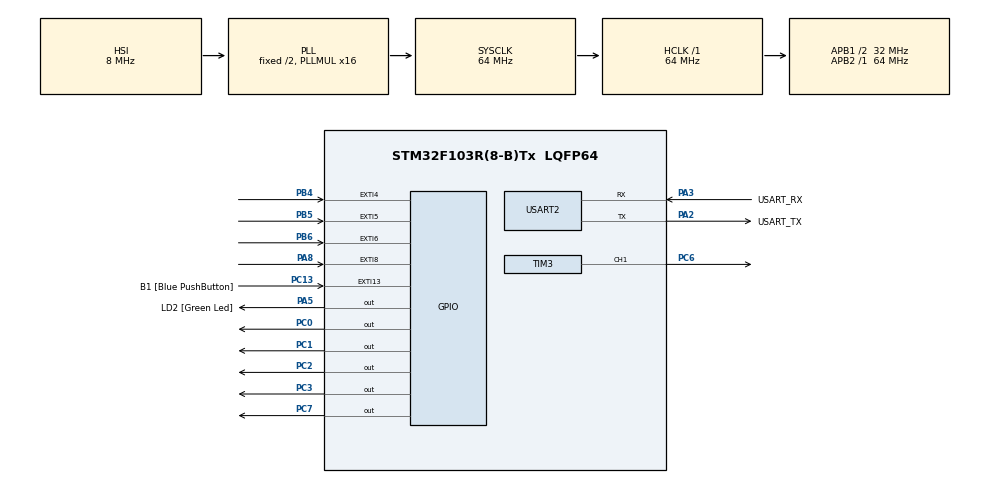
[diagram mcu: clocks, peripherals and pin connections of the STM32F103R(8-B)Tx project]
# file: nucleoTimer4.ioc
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Mcu.Family=STM32F1
Mcu.Name=STM32F103R(8-B)Tx
Mcu.Package=LQFP64
NVIC.EXTI15_10_IRQn=true\:0\:0\:false\:false\:true\:true\:true\:true
NVIC.EXTI4_IRQn=true\:0\:0\:false\:false\:true\:true\:true\:true
NVIC.EXTI9_5_IRQn=true\:0\:0\:false\:false\:true\:true\:true\:true
NVIC.PriorityGroup=NVIC_PRIORITYGROUP_4
NVIC.TIM2_IRQn=true\:0\:0\:false\:false\:true\:true\:true\:true
NVIC.TIM3_IRQn=true\:0\:0\:false\:false\:true\:true\:true\:true
PA13.GPIO_Label=TMS
PA13.Mode=Serial_Wire
PA13.Signal=SYS_JTMS-SWDIO
PA14.GPIO_Label=TCK
PA14.Mode=Serial_Wire
PA14.Signal=SYS_JTCK-SWCLK
PA2.GPIO_Label=USART_TX
PA2.GPIO_Mode=GPIO_MODE_AF_PP
PA2.GPIO_PuPd=GPIO_NOPULL
PA2.GPIO_Speed=GPIO_SPEED_FREQ_LOW
PA2.Mode=Asynchronous
PA2.Signal=USART2_TX
PA3.GPIO_Label=USART_RX
PA3.GPIO_Mode=GPIO_MODE_AF_PP
PA3.GPIO_PuPd=GPIO_NOPULL
PA3.GPIO_Speed=GPIO_SPEED_FREQ_LOW
PA3.Mode=Asynchronous
PA3.Signal=USART2_RX
PA5.GPIO_Label=LD2 [Green Led]
PA5.GPIO_ModeDefaultOutputPP=GPIO_MODE_OUTPUT_PP
PA5.GPIO_PuPd=GPIO_NOPULL
PA5.GPIO_Speed=GPIO_SPEED_FREQ_LOW
PA5.Signal=GPIO_Output
PA8.GPIO_ModeDefaultEXTI=GPIO_MODE_IT_FALLING
PA8.GPIO_PuPd=GPIO_NOPULL
PA8.Signal=GPXTI8
PB4.GPIO_ModeDefaultEXTI=GPIO_MODE_IT_FALLING
PB4.Signal=GPXTI4
PB5.GPIO_ModeDefaultEXTI=GPIO_MODE_IT_FALLING
PB5.Signal=GPXTI5
PB6.Signal=GPXTI6
PC0.Signal=GPIO_Output
PC1.Signal=GPIO_Output
PC13-TAMPER-RTC.GPIO_Label=B1 [Blue PushButton]
PC13-TAMPER-RTC.GPIO_PuPd=GPIO_NOPULL
PC13-TAMPER-RTC.Signal=GPXTI13
PC14-OSC32_IN.Mode=LSE-External-Oscillator
PC14-OSC32_IN.Signal=RCC_OSC32_IN
PC15-OSC32_OUT.Mode=LSE-External-Oscillator
PC15-OSC32_OUT.Signal=RCC_OSC32_OUT
PC2.Signal=GPIO_Output
PC3.Signal=GPIO_Output
PC6.Signal=S_TIM3_CH1
PC7.Signal=GPIO_Output
PD0-OSC_IN.Mode=HSE-External-Clock-Source
PD0-OSC_IN.Signal=RCC_OSC_IN
PD1-OSC_OUT.Mode=HSE-External-Clock-Source
PD1-OSC_OUT.Signal=RCC_OSC_OUT
ProjectManager.HeapSize=0x200
ProjectManager.StackSize=0x400
ProjectManager.TargetToolchain=STM32CubeIDE
RCC.AHBFreq_Value=64000000
RCC.APB1CLKDivider=RCC_HCLK_DIV2
RCC.APB1Freq_Value=32000000
RCC.APB1TimFreq_Value=64000000
RCC.APB2Freq_Value=64000000
RCC.APB2TimFreq_Value=64000000
RCC.HCLKFreq_Value=64000000
RCC.PLLMUL=RCC_PLL_MUL16
RCC.RTCClockSelection=RCC_RTCCLKSOURCE_LSE
RCC.SYSCLKFreq_VALUE=64000000
RCC.SYSCLKSource=RCC_SYSCLKSOURCE_PLLCLK
RCC.USBFreq_Value=64000000
SH.S_TIM3_CH1.0=TIM3_CH1,PWM Generation1 CH1
TIM2.Channel-Output\ Compare1\ No\ Output=TIM_CHANNEL_1
TIM2.Channel-Output\ Compare2\ No\ Output=TIM_CHANNEL_2
TIM2.Channel-Output\ Compare3\ No\ Output=TIM_CHANNEL_3
TIM2.Period=9999
TIM2.Prescaler=63
TIM3.Channel-PWM\ Generation1\ CH1=TIM_CHANNEL_1
TIM3.Period=9999
TIM3.Prescaler=63
TIM3.Pulse-PWM\ Generation1\ CH1=2999
USART2.VirtualMode=VM_ASYNC
VP_TIM2_VS_ClockSourceINT.Mode=Internal
VP_TIM2_VS_no_output1.Mode=Output Compare1 No Output
VP_TIM2_VS_no_output2.Mode=Output Compare2 No Output
VP_TIM2_VS_no_output3.Mode=Output Compare3 No Output
VP_TIM3_VS_ClockSourceINT.Mode=Internal
board=NUCLEO-F103RB

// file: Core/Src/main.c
/* USER CODE BEGIN Header */
/**
  ******************************************************************************
  * @file           : main.c
  * @brief          : Main program body
  ******************************************************************************
  * @attention
  *
  * Copyright (c) 2022 STMicroelectronics.
  * All rights reserved.
  *
  * This software is licensed under terms that can be found in the LICENSE file
  * in the root directory of this software component.
  * If no LICENSE file comes with this software, it is provided AS-IS.
  *
  ******************************************************************************
  */
/* USER CODE END Header */
#include "main.h"

 TIM_HandleTypeDef htim2;
TIM_HandleTypeDef htim3;

UART_HandleTypeDef huart2;

/* USER CODE BEGIN PV */
int cnt1 =0;
int cnt2 =0;
int cnt3 = 0;
/* USER CODE END PV */

void SystemClock_Config(void);
static void MX_GPIO_Init(void);
static void MX_USART2_UART_Init(void);
static void MX_TIM2_Init(void);
static void MX_TIM3_Init(void);

/* USER CODE BEGIN 0 */
void HAL_GPIO_EXTI_Callback(uint16_t GPIO_Pin)
{

	if(GPIO_Pin == GPIO_PIN_8)
	{
		switch(cnt1)
		{
		case 0 : TIM2->CCR1 = 999;TIM2->CCR2 = 8999; break;
		case 1 : TIM2->CCR1 = 2999;TIM2->CCR2 = 5999; break;
		case 2 : TIM2->CCR1 = 5999;TIM2->CCR2 = 2999; break;
		case 3 : TIM2->CCR1 = 8999;TIM2->CCR2 = 999; break;
		default : break;
		}
		cnt1++;
		if (cnt1 == 4) cnt1 =0;
	}
	if(GPIO_Pin == GPIO_PIN_4)
	{
		TIM2->CCR3 = 100;
		cnt2 = !cnt2;
	}
	if(GPIO_Pin == GPIO_PIN_5)
	{
		switch(cnt3)
		{
		case 0 : TIM3->CCR1 = 8999; break;
		case 1 : TIM3->CCR1 = 6999; break;
		case 2 : TIM3->CCR1 = 4999; break;
		case 3 : TIM3->CCR1 = 2999; break;
		default : break;
		}
		cnt3++;
		if (cnt3 == 4) cnt3 =0;
	}
}

void HAL_TIM_PeriodElapsedCallback(TIM_HandleTypeDef *htim)
{
	HAL_GPIO_WritePin(GPIOC, 0x0f, GPIO_PIN_SET);
	//HAL_GPIO_WritePin(GPIOC, 0x80, GPIO_PIN_RESET);
	//if(htim==&htim3) HAL_GPIO_WritePin(GPIOC, GPIO_PIN_7, GPIO_PIN_SET);

}
void HAL_TIM_OC_DelayElapsedCallback(TIM_HandleTypeDef *htim)
{
	if(htim == &htim2){
	if(htim->Channel==(HAL_TIM_ACTIVE_CHANNEL_1)){
		HAL_GPIO_WritePin(GPIOC, 0x03, GPIO_PIN_RESET);
	}
	if(htim->Channel==(HAL_TIM_ACTIVE_CHANNEL_2)){
		HAL_GPIO_WritePin(GPIOC, 0x0c, GPIO_PIN_RESET);
	}
	if((htim->Channel==(HAL_TIM_ACTIVE_CHANNEL_3))&&cnt2 == 0)
	{
		HAL_GPIO_WritePin(GPIOC, 0x0f, GPIO_PIN_RESET);
	}
	else if((htim->Channel==(HAL_TIM_ACTIVE_CHANNEL_3))&&cnt2 == 1)
	{
		HAL_GPIO_WritePin(GPIOC, 0x0f, GPIO_PIN_SET);
	}
	}
}

void HAL_TIM_PWM_PulseFinishedCallback(TIM_HandleTypeDef *htim)
{

	//HAL_GPIO_WritePin(GPIOC, GPIO_PIN_7, GPIO_PIN_SET);
	HAL_GPIO_TogglePin(GPIOC, GPIO_PIN_7);
}

/* USER CODE END 0 */

int main(void)
{

  /* MCU Configuration--------------------------------------------------------*/

  /* Reset of all peripherals, Initializes the Flash interface and the Systick. */
  HAL_Init();

  /* Configure the system clock */
  SystemClock_Config();

  /* Initialize all configured peripherals */
  MX_GPIO_Init();
  MX_USART2_UART_Init();
  MX_TIM2_Init();
  MX_TIM3_Init();
  /* USER CODE BEGIN 2 */
  HAL_TIM_Base_Start_IT(&htim2);

  HAL_TIM_OC_Start_IT(&htim2,TIM_CHANNEL_1);
  HAL_TIM_OC_Start_IT(&htim2,TIM_CHANNEL_2);
  HAL_TIM_OC_Start_IT(&htim2,TIM_CHANNEL_3);
  HAL_TIM_PWM_Start_IT(&htim3, TIM_CHANNEL_1);

  /* USER CODE END 2 */

  /* Infinite loop */
  while (1)
  {

  }
}

void SystemClock_Config(void)
{
  RCC_OscInitTypeDef RCC_OscInitStruct = {0};
  RCC_ClkInitTypeDef RCC_ClkInitStruct = {0};

  /** Initializes the RCC Oscillators according to the specified parameters
  * in the RCC_OscInitTypeDef structure.
  */
  RCC_OscInitStruct.OscillatorType = RCC_OSCILLATORTYPE_HSI;
  RCC_OscInitStruct.HSIState = RCC_HSI_ON;
  RCC_OscInitStruct.HSICalibrationValue = RCC_HSICALIBRATION_DEFAULT;
  RCC_OscInitStruct.PLL.PLLState = RCC_PLL_ON;
  RCC_OscInitStruct.PLL.PLLSource = RCC_PLLSOURCE_HSI_DIV2;
  RCC_OscInitStruct.PLL.PLLMUL = RCC_PLL_MUL16;
  if (HAL_RCC_OscConfig(&RCC_OscInitStruct) != HAL_OK)
  {
    Error_Handler();
  }

  /** Initializes the CPU, AHB and APB buses clocks
  */
  RCC_ClkInitStruct.ClockType = RCC_CLOCKTYPE_HCLK|RCC_CLOCKTYPE_SYSCLK
                              |RCC_CLOCKTYPE_PCLK1|RCC_CLOCKTYPE_PCLK2;
  RCC_ClkInitStruct.SYSCLKSource = RCC_SYSCLKSOURCE_PLLCLK;
  RCC_ClkInitStruct.AHBCLKDivider = RCC_SYSCLK_DIV1;
  RCC_ClkInitStruct.APB1CLKDivider = RCC_HCLK_DIV2;
  RCC_ClkInitStruct.APB2CLKDivider = RCC_HCLK_DIV1;

  if (HAL_RCC_ClockConfig(&RCC_ClkInitStruct, FLASH_LATENCY_2) != HAL_OK)
  {
    Error_Handler();
  }
}

static void MX_TIM2_Init(void)
{

  TIM_ClockConfigTypeDef sClockSourceConfig = {0};
  TIM_MasterConfigTypeDef sMasterConfig = {0};
  TIM_OC_InitTypeDef sConfigOC = {0};

  htim2.Instance = TIM2;
  htim2.Init.Prescaler = 6399;
  htim2.Init.CounterMode = TIM_COUNTERMODE_UP;
  htim2.Init.Period = 9999;
  htim2.Init.ClockDivision = TIM_CLOCKDIVISION_DIV1;
  htim2.Init.AutoReloadPreload = TIM_AUTORELOAD_PRELOAD_DISABLE;
  if (HAL_TIM_Base_Init(&htim2) != HAL_OK)
  {
    Error_Handler();
  }
  sClockSourceConfig.ClockSource = TIM_CLOCKSOURCE_INTERNAL;
  if (HAL_TIM_ConfigClockSource(&htim2, &sClockSourceConfig) != HAL_OK)
  {
    Error_Handler();
  }
  if (HAL_TIM_OC_Init(&htim2) != HAL_OK)
  {
    Error_Handler();
  }
  sMasterConfig.MasterOutputTrigger = TIM_TRGO_RESET;
  sMasterConfig.MasterSlaveMode = TIM_MASTERSLAVEMODE_DISABLE;
  if (HAL_TIMEx_MasterConfigSynchronization(&htim2, &sMasterConfig) != HAL_OK)
  {
    Error_Handler();
  }
  sConfigOC.OCMode = TIM_OCMODE_TIMING;
  sConfigOC.Pulse = 0;
  sConfigOC.OCPolarity = TIM_OCPOLARITY_HIGH;
  sConfigOC.OCFastMode = TIM_OCFAST_DISABLE;
  if (HAL_TIM_OC_ConfigChannel(&htim2, &sConfigOC, TIM_CHANNEL_1) != HAL_OK)
  {
    Error_Handler();
  }
  if (HAL_TIM_OC_ConfigChannel(&htim2, &sConfigOC, TIM_CHANNEL_2) != HAL_OK)
  {
    Error_Handler();
  }
  if (HAL_TIM_OC_ConfigChannel(&htim2, &sConfigOC, TIM_CHANNEL_3) != HAL_OK)
  {
    Error_Handler();
  }

}

static void MX_TIM3_Init(void)
{

  TIM_ClockConfigTypeDef sClockSourceConfig = {0};
  TIM_MasterConfigTypeDef sMasterConfig = {0};
  TIM_OC_InitTypeDef sConfigOC = {0};

  htim3.Instance = TIM3;
  htim3.Init.Prescaler = 6399;
  htim3.Init.CounterMode = TIM_COUNTERMODE_UP;
  htim3.Init.Period = 9999;
  htim3.Init.ClockDivision = TIM_CLOCKDIVISION_DIV1;
  htim3.Init.AutoReloadPreload = TIM_AUTORELOAD_PRELOAD_DISABLE;
  if (HAL_TIM_Base_Init(&htim3) != HAL_OK)
  {
    Error_Handler();
  }
  sClockSourceConfig.ClockSource = TIM_CLOCKSOURCE_INTERNAL;
  if (HAL_TIM_ConfigClockSource(&htim3, &sClockSourceConfig) != HAL_OK)
  {
    Error_Handler();
  }
  if (HAL_TIM_PWM_Init(&htim3) != HAL_OK)
  {
    Error_Handler();
  }
  sMasterConfig.MasterOutputTrigger = TIM_TRGO_RESET;
  sMasterConfig.MasterSlaveMode = TIM_MASTERSLAVEMODE_DISABLE;
  if (HAL_TIMEx_MasterConfigSynchronization(&htim3, &sMasterConfig) != HAL_OK)
  {
    Error_Handler();
  }
  sConfigOC.OCMode = TIM_OCMODE_PWM1;
  sConfigOC.Pulse = 2999;
  sConfigOC.OCPolarity = TIM_OCPOLARITY_HIGH;
  sConfigOC.OCFastMode = TIM_OCFAST_DISABLE;
  if (HAL_TIM_PWM_ConfigChannel(&htim3, &sConfigOC, TIM_CHANNEL_1) != HAL_OK)
  {
    Error_Handler();
  }
  HAL_TIM_MspPostInit(&htim3);

}

static void MX_USART2_UART_Init(void)
{

  huart2.Instance = USART2;
  huart2.Init.BaudRate = 115200;
  huart2.Init.WordLength = UART_WORDLENGTH_8B;
  huart2.Init.StopBits = UART_STOPBITS_1;
  huart2.Init.Parity = UART_PARITY_NONE;
  huart2.Init.Mode = UART_MODE_TX_RX;
  huart2.Init.HwFlowCtl = UART_HWCONTROL_NONE;
  huart2.Init.OverSampling = UART_OVERSAMPLING_16;
  if (HAL_UART_Init(&huart2) != HAL_OK)
  {
    Error_Handler();
  }

}

static void MX_GPIO_Init(void)
{
  GPIO_InitTypeDef GPIO_InitStruct = {0};

  /* GPIO Ports Clock Enable */
  __HAL_RCC_GPIOC_CLK_ENABLE();
  __HAL_RCC_GPIOD_CLK_ENABLE();
  __HAL_RCC_GPIOA_CLK_ENABLE();
  __HAL_RCC_GPIOB_CLK_ENABLE();

  /*Configure GPIO pin Output Level */
  HAL_GPIO_WritePin(GPIOC, GPIO_PIN_0|GPIO_PIN_1|GPIO_PIN_2|GPIO_PIN_3
                          |GPIO_PIN_7, GPIO_PIN_RESET);

  /*Configure GPIO pin Output Level */
  HAL_GPIO_WritePin(LD2_GPIO_Port, LD2_Pin, GPIO_PIN_RESET);

  /*Configure GPIO pin : B1_Pin */
  GPIO_InitStruct.Pin = B1_Pin;
  GPIO_InitStruct.Mode = GPIO_MODE_IT_RISING;
  GPIO_InitStruct.Pull = GPIO_NOPULL;
  HAL_GPIO_Init(B1_GPIO_Port, &GPIO_InitStruct);

  /*Configure GPIO pins : PC0 PC1 PC2 PC3
                           PC7 */
  GPIO_InitStruct.Pin = GPIO_PIN_0|GPIO_PIN_1|GPIO_PIN_2|GPIO_PIN_3
                          |GPIO_PIN_7;
  GPIO_InitStruct.Mode = GPIO_MODE_OUTPUT_PP;
  GPIO_InitStruct.Pull = GPIO_NOPULL;
  GPIO_InitStruct.Speed = GPIO_SPEED_FREQ_LOW;
  HAL_GPIO_Init(GPIOC, &GPIO_InitStruct);

  /*Configure GPIO pin : LD2_Pin */
  GPIO_InitStruct.Pin = LD2_Pin;
  GPIO_InitStruct.Mode = GPIO_MODE_OUTPUT_PP;
  GPIO_InitStruct.Pull = GPIO_NOPULL;
  GPIO_InitStruct.Speed = GPIO_SPEED_FREQ_LOW;
  HAL_GPIO_Init(LD2_GPIO_Port, &GPIO_InitStruct);

  /*Configure GPIO pin : PA8 */
  GPIO_InitStruct.Pin = GPIO_PIN_8;
  GPIO_InitStruct.Mode = GPIO_MODE_IT_FALLING;
  GPIO_InitStruct.Pull = GPIO_NOPULL;
  HAL_GPIO_Init(GPIOA, &GPIO_InitStruct);

  /*Configure GPIO pins : PB4 PB5 */
  GPIO_InitStruct.Pin = GPIO_PIN_4|GPIO_PIN_5;
  GPIO_InitStruct.Mode = GPIO_MODE_IT_FALLING;
  GPIO_InitStruct.Pull = GPIO_NOPULL;
  HAL_GPIO_Init(GPIOB, &GPIO_InitStruct);

  /*Configure GPIO pin : PB6 */
  GPIO_InitStruct.Pin = GPIO_PIN_6;
  GPIO_InitStruct.Mode = GPIO_MODE_IT_RISING;
  GPIO_InitStruct.Pull = GPIO_NOPULL;
  HAL_GPIO_Init(GPIOB, &GPIO_InitStruct);

  /* EXTI interrupt init*/
  HAL_NVIC_SetPriority(EXTI4_IRQn, 0, 0);
  HAL_NVIC_EnableIRQ(EXTI4_IRQn);

  HAL_NVIC_SetPriority(EXTI9_5_IRQn, 0, 0);
  HAL_NVIC_EnableIRQ(EXTI9_5_IRQn);

  HAL_NVIC_SetPriority(EXTI15_10_IRQn, 0, 0);
  HAL_NVIC_EnableIRQ(EXTI15_10_IRQn);

}

void Error_Handler(void)
{
  __disable_irq();
  while (1)
  {
  }
}
